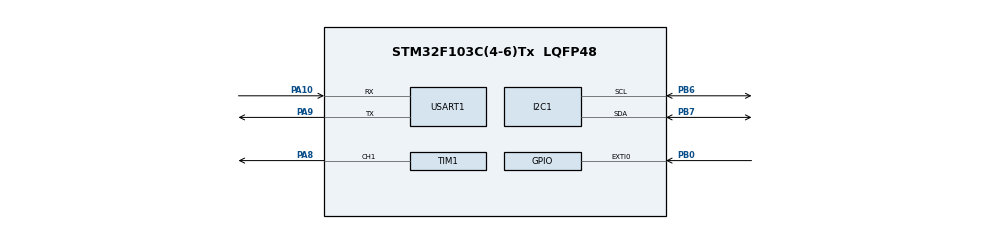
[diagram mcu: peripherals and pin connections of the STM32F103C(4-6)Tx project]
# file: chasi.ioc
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Dma.Request0=TIM1_CH1
Dma.TIM1_CH1.0.Direction=DMA_MEMORY_TO_PERIPH
Dma.TIM1_CH1.0.Instance=DMA1_Channel2
Dma.TIM1_CH1.0.MemDataAlignment=DMA_MDATAALIGN_HALFWORD
Dma.TIM1_CH1.0.MemInc=DMA_MINC_ENABLE
Dma.TIM1_CH1.0.Mode=DMA_NORMAL
Dma.TIM1_CH1.0.PeriphDataAlignment=DMA_PDATAALIGN_HALFWORD
Dma.TIM1_CH1.0.PeriphInc=DMA_PINC_DISABLE
Dma.TIM1_CH1.0.Priority=DMA_PRIORITY_LOW
Mcu.Family=STM32F1
Mcu.Name=STM32F103C(4-6)Tx
Mcu.Package=LQFP48
NVIC.DMA1_Channel2_IRQn=true\:0\:0\:false\:false\:true\:false\:true\:true
NVIC.EXTI0_IRQn=true\:0\:0\:false\:false\:true\:true\:true\:true
NVIC.I2C1_ER_IRQn=true\:0\:0\:false\:false\:true\:true\:true\:true
NVIC.I2C1_EV_IRQn=true\:0\:0\:false\:false\:true\:true\:true\:true
NVIC.PriorityGroup=NVIC_PRIORITYGROUP_4
NVIC.TIM1_BRK_IRQn=true\:0\:0\:false\:false\:true\:true\:true\:true
NVIC.TIM1_CC_IRQn=true\:0\:0\:false\:false\:true\:true\:true\:true
NVIC.TIM1_TRG_COM_IRQn=true\:0\:0\:false\:false\:true\:true\:true\:true
NVIC.TIM1_UP_IRQn=true\:0\:0\:false\:false\:true\:true\:true\:true
NVIC.USART1_IRQn=true\:0\:0\:false\:false\:true\:true\:true\:true
PA10.Mode=Asynchronous
PA10.Signal=USART1_RX
PA8.Signal=S_TIM1_CH1
PA9.Mode=Asynchronous
PA9.Signal=USART1_TX
PB0.GPIO_ModeDefaultEXTI=GPIO_MODE_IT_FALLING
PB0.GPIO_PuPd=GPIO_PULLUP
PB0.Signal=GPXTI0
PB6.Mode=I2C
PB6.Signal=I2C1_SCL
PB7.Mode=I2C
PB7.Signal=I2C1_SDA
ProjectManager.HeapSize=0x200
ProjectManager.StackSize=0x400
ProjectManager.TargetToolchain=STM32CubeIDE
RCC.APB1Freq_Value=8000000
RCC.APB2Freq_Value=8000000
SH.S_TIM1_CH1.0=TIM1_CH1,PWM Generation1 CH1
TIM1.Channel-PWM\ Generation1\ CH1=TIM_CHANNEL_1
TIM1.Period=10000
USART1.VirtualMode=VM_ASYNC
VP_SYS_VS_ND.Mode=No_Debug
VP_TIM1_VS_ClockSourceINT.Mode=Internal
board=custom

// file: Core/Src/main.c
/* USER CODE BEGIN Header */
/**
  ******************************************************************************
  * @file           : main.c
  * @brief          : Main program body
  ******************************************************************************
  * @attention
  *
  * Copyright (c) 2024 STMicroelectronics.
  * All rights reserved.
  *
  * This software is licensed under terms that can be found in the LICENSE file
  * in the root directory of this software component.
  * If no LICENSE file comes with this software, it is provided AS-IS.
  *
  ******************************************************************************
  */
/* USER CODE END Header */
#include "main.h"
#include "dma.h"
#include "i2c.h"
#include "tim.h"
#include "usart.h"
#include "gpio.h"

/* USER CODE BEGIN Includes */
#include "string.h"
uint8_t aTxBuffer[8];
uint8_t checkS,checkM,checkH, checkA, checkB;
uint8_t sec, min, hour, Dsec,Dmin, Dhour;
char str1[11]={0};
char str2[11]={0};
volatile uint8_t buff_1[1000] = {10000};
/* USER CODE END Includes */

void SystemClock_Config(void);
/* USER CODE BEGIN PFP */
uint8_t RTC_ConvertFromDec(uint8_t c){
	  uint8_t ch = ((c>>4)*10+(0x0F&c));
	  return ch;
}

uint8_t RTC_ConvertFromBinDec(uint8_t c){
	  uint8_t ch = ((c/10)<<4)|(c%10);
	  return ch;
}
/* USER CODE END PFP */

int main(void)
{

  /* MCU Configuration--------------------------------------------------------*/

  /* Reset of all peripherals, Initializes the Flash interface and the Systick. */
  HAL_Init();

  /* Configure the system clock */
  SystemClock_Config();

  /* Initialize all configured peripherals */
  MX_GPIO_Init();
  MX_DMA_Init();
  MX_I2C1_Init();
  MX_USART1_UART_Init();
  MX_TIM1_Init();
  /* USER CODE BEGIN 2 */
//  	HAL_TIM_PWM_Start(&htim1, TIM_CHANNEL_1);
//  	HAL_TIM_PWM_Start_DMA(&htim1, TIM_CHANNEL_1, buff, 10*2);
  int nh1, nh2, nm1, nm2, ns1, ns2;
  char h1, h2, m1, m2, s1, s2;
  uint8_t q_min, q_hour, q_sec, alarm;
  uint8_t sss = RTC_ConvertFromBinDec(0),
		  mmm = RTC_ConvertFromBinDec(0),
		  hhh = RTC_ConvertFromBinDec(0);

  	  	  hhh = hhh & 0b11111111;

	HAL_UART_Transmit(&huart1,"Enter  current time\r",20,60);
	HAL_UART_Receive_IT(&huart1,str1,10);
	while (HAL_UART_Receive_IT(&huart1,str1,10)!=HAL_OK)
		__NOP();

	h1 = str1[0];
	h2 = str1[1];

	m1 = str1[3];
	m2 = str1[4];

	s1 = str1[6];
	s2 = str1[7];

	nh1 = (int)h1 - 48;
	nh2 = (int)h2 - 48;
	nm1 = (int)m1 - 48;
	nm2 = (int)m2 - 48;
	ns1 = (int)s1 - 48;
	ns2 = (int)s2 - 48;

	hhh = RTC_ConvertFromBinDec(nh1 * 10 + nh2);
	mmm = RTC_ConvertFromBinDec(nm1 * 10 + nm2);
	sss = RTC_ConvertFromBinDec(ns1 * 10 + ns2);

	hhh = hhh & 0b00111111;

	HAL_I2C_Mem_Write(&hi2c1, 0xD0, 0x00, 1, &sss, 1, 1000);
	HAL_I2C_Mem_Write(&hi2c1, 0xD0, 0x01, 1, &mmm, 1, 1000);
	HAL_I2C_Mem_Write(&hi2c1, 0xD0, 0x02, 1, &hhh, 1, 1000);

	HAL_UART_Transmit(&huart1,"Enter alarm time\r",16,60);
	sprintf(str1, "%d%d:%d%d:%d%d", nh1, nh2, nm1, nm2, ns1, ns2);
	while (HAL_UART_Receive_IT(&huart1,str1,10)!=HAL_OK)
	  		__NOP();

	h1 = str1[0];
	h2 = str1[1];

	m1 = str1[3];
	m2 = str1[4];

	s1 = str1[6];
	s2 = str1[7];

	nh1 = (uint8_t)h1 - 48;
	nh2 = (uint8_t)h2 - 48;
	nm1 = (uint8_t)m1 - 48;
	nm2 = (uint8_t)m2 - 48;
	ns1 = (uint8_t)s1 - 48;
	ns2 = (uint8_t)s2 - 48;

	hhh = RTC_ConvertFromBinDec(nh1 * 10 + nh2);
	mmm = RTC_ConvertFromBinDec(nm1 * 10 + nm2);
	sss = RTC_ConvertFromBinDec(ns1 * 10 + ns2);

	int st = 0b00000101, mp = 0b10000000, np = 0b011111111;

	hhh = hhh & np;
	mmm = mmm & np;
	sss = sss & np;

	HAL_I2C_Mem_Write(&hi2c1, 0xD0, 0x07, 1, &sss, 1, 1000);
	HAL_I2C_Mem_Write(&hi2c1, 0xD0, 0x08, 1, &mmm, 1, 1000);
	HAL_I2C_Mem_Write(&hi2c1, 0xD0, 0x09, 1, &hhh, 1, 1000);
	HAL_I2C_Mem_Write(&hi2c1, 0xD0, 0x0a, 1, &mp, 1, 1000);

	HAL_I2C_Mem_Write(&hi2c1, 0xD0, 0x0e, 1, &st, 1, 1000);

	sprintf(str1, "%d%d:%d%d:%d%d", nh1, nh2, nm1, nm2, ns1, ns2);

//	HAL_I2C_Mem_Read(&hi2c1, 0xD0, 0x0f, 1, &checkA, 1, 1000);

	alarm = checkA & 0b00000001;
	 uint8_t aaaaa = 0b00000000;
	 uint8_t Alarm_sec, Alarm_min, Alarm_hour;

	  HAL_I2C_Mem_Write(&hi2c1, 0xD0, 0x0f, 1, &aaaaa, 1, 1000);
//	  HAL_I2C_Mem_Read(&hi2c1, 0xD0, 0x07, 1, &Alarm_sec, 1, 1000);
//	  HAL_I2C_Mem_Read(&hi2c1, 0xD0, 0x08, 1, &Alarm_min, 1, 1000);
//	  HAL_I2C_Mem_Read(&hi2c1, 0xD0, 0x09, 1, &Alarm_hour, 1, 1000);

	  HAL_I2C_Mem_Write(&hi2c1, 0xD0, 0x0F, 1, &aaaaa, 1, 1000);

//	  HAL_I2C_Mem_Read(&hi2c1, 0xD0, 0x0E, 1, &checkA, 1, 1000);
//	  HAL_I2C_Mem_Read(&hi2c1, 0xD0, 0x0F, 1, &checkB, 1, 1000);
	  HAL_TIM_PWM_Start_DMA(&htim1, TIM_CHANNEL_1, buff_1, 3);
	  HAL_Delay(1000);

  /* USER CODE END 2 */

  /* Infinite loop */
  /* USER CODE BEGIN WHILE */

  while (1)
  {
	  TIM1 -> CCR1 = 0;
	  HAL_I2C_Mem_Read(&hi2c1, 0xD0, 0x00, 1, &checkS, 1, 1000);
	  sec=(checkS & 0b00001111);
	  Dsec = (checkS & 0b01110000)>>4;

	  HAL_I2C_Mem_Read(&hi2c1, 0xD0, 0x01, 1, &checkM, 1, 1000);
	  min = (checkM & 0b00001111);
	  Dmin = (checkM & 0b01110000)>>4;

	  HAL_I2C_Mem_Read(&hi2c1, 0xD0, 0x02, 1, &checkH, 1, 1000);
	  hour = (checkH & 0b0001111);
	  Dhour = (checkH & 0b00110000)>>4;

	  q_min = (Dmin * 10) + min;
	  q_hour = (Dhour * 10) + hour;
	  q_sec = (Dsec * 10) + sec;

	  sprintf(str2, "%d:%d:%d\r", q_hour, q_min, q_sec);

	  HAL_UART_Transmit(&huart1,str2,strlen(str2),60);
	  HAL_Delay(1000);

    /* USER CODE END WHILE */

  }
}

void SystemClock_Config(void)
{
  RCC_OscInitTypeDef RCC_OscInitStruct = {0};
  RCC_ClkInitTypeDef RCC_ClkInitStruct = {0};

  /** Initializes the RCC Oscillators according to the specified parameters
  * in the RCC_OscInitTypeDef structure.
  */
  RCC_OscInitStruct.OscillatorType = RCC_OSCILLATORTYPE_HSI;
  RCC_OscInitStruct.HSIState = RCC_HSI_ON;
  RCC_OscInitStruct.HSICalibrationValue = RCC_HSICALIBRATION_DEFAULT;
  RCC_OscInitStruct.PLL.PLLState = RCC_PLL_NONE;
  if (HAL_RCC_OscConfig(&RCC_OscInitStruct) != HAL_OK)
  {
    Error_Handler();
  }

  /** Initializes the CPU, AHB and APB buses clocks
  */
  RCC_ClkInitStruct.ClockType = RCC_CLOCKTYPE_HCLK|RCC_CLOCKTYPE_SYSCLK
                              |RCC_CLOCKTYPE_PCLK1|RCC_CLOCKTYPE_PCLK2;
  RCC_ClkInitStruct.SYSCLKSource = RCC_SYSCLKSOURCE_HSI;
  RCC_ClkInitStruct.AHBCLKDivider = RCC_SYSCLK_DIV1;
  RCC_ClkInitStruct.APB1CLKDivider = RCC_HCLK_DIV1;
  RCC_ClkInitStruct.APB2CLKDivider = RCC_HCLK_DIV1;

  if (HAL_RCC_ClockConfig(&RCC_ClkInitStruct, FLASH_LATENCY_0) != HAL_OK)
  {
    Error_Handler();
  }
}

void Error_Handler(void)
{
  __disable_irq();
  while (1)
  {
  }
}
